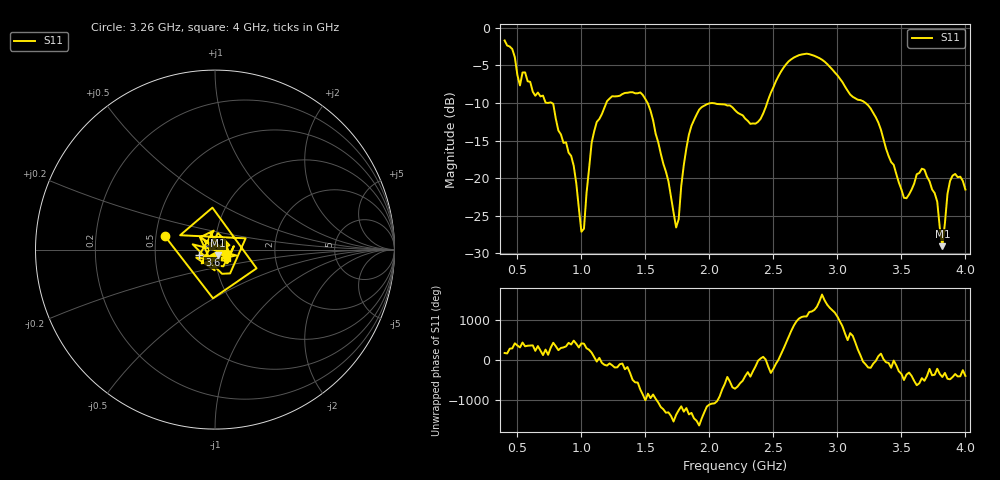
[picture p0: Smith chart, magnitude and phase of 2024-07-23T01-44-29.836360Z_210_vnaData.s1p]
!Created with skrf (http://scikit-rf.org).
# Hz S RI R 50.0
!freq ReS11 ImS11
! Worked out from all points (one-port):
!   181 points, 400 MHz to 4 GHz, reference 50 ohm
!   lowest |S11| = -29.1 dB at 3.82 GHz (marker M1), VSWR 1.07, Z = 51.5 - j3.25 ohm
!   |S11| at or under -10 dB: 769.4 MHz to 1.194 GHz (425 MHz wide, 43.3 % of centre); 1.517 GHz to 2.451 GHz (933.6 MHz wide, 47.1 % of centre); 3.22 GHz to end of sweep
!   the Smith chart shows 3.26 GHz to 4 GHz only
!   S11 on the Smith chart (normalised r, x): 3.26 GHz: 0.56, +0.09; 3.6 GHz: 0.84, -0.05; 4 GHz: 1.14, -0.11
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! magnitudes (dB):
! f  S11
! 400 MHz  -1.7
! 520 MHz  -7.7
! 780 MHz  -10.1
! 860 MHz  -15.3
! 940 MHz  -18.4
! 1 GHz  -27.1
! 1.02 GHz  -26.7
! 1.08 GHz  -15.3
! 1.12 GHz  -12.5
! 1.3 GHz  -9.0
! 1.52 GHz  -10.1
! 1.74 GHz  -26.6
! 1.76 GHz  -25.5
! 1.82 GHz  -16.0
! 1.9 GHz  -11.5
! 2.2 GHz  -11.0
! 2.38 GHz  -12.5
! 2.66 GHz  -3.9
! 2.88 GHz  -4.2
! 3.1 GHz  -8.9
! 3.26 GHz  -10.7
! 3.56 GHz  -22.2
! 3.6 GHz  -20.7
! 3.68 GHz  -18.9
! 3.78 GHz  -23.1
! 3.82 GHz  -29.1
! 3.88 GHz  -20.4
! 4 GHz  -21.5
